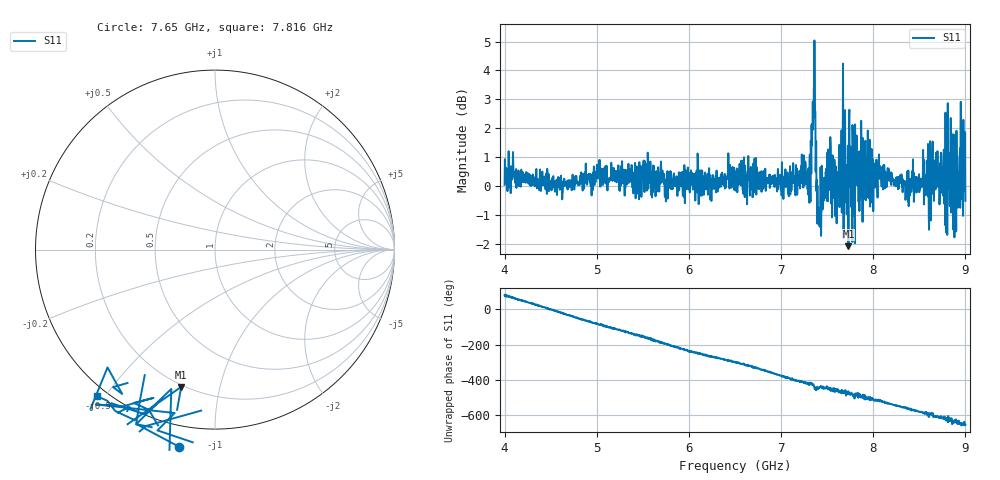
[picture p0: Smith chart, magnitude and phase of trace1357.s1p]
! Created with skrf 1.8.0 (http://scikit-rf.org).
# Hz S RI R 50.0
!freq ReS11 ImS11
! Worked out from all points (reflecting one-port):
!   1601 points, 4 GHz to 9 GHz, reference 50 ohm
!   lowest |S11| = -2.1 dB at 7.731 GHz (marker M1), VSWR 8.42, Z = 9.51 - j38.3 ohm
!   phase of S11 starts at 81 deg and turns -734 deg over the sweep
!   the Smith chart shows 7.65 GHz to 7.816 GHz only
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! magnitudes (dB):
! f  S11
! 4 GHz  0.0
! 4.625 GHz  -0.5
! 5.25 GHz  -0.2
! 5.875 GHz  -0.3
! 6.5 GHz  0.0
! 7.125 GHz  0.5
! 7.294 GHz  -0.3
! 7.316 GHz  0.2
! 7.347 GHz  2.0
! 7.369 GHz  2.6
! 7.4 GHz  -0.8
! 7.412 GHz  -1.0
! 7.512 GHz  1.3
! 7.609 GHz  -0.4
! 7.65 GHz  1.0
! 7.703 GHz  -0.6
! 7.731 GHz  -2.1
! 7.75 GHz  0.2
! 7.775 GHz  2.1
! 7.962 GHz  1.6
! 7.981 GHz  0.4
! 8.375 GHz  -0.1
! 8.656 GHz  0.9
! 8.766 GHz  1.3
! 8.822 GHz  1.1
! 8.875 GHz  0.5
! 8.972 GHz  1.0
! 9 GHz  -0.5
